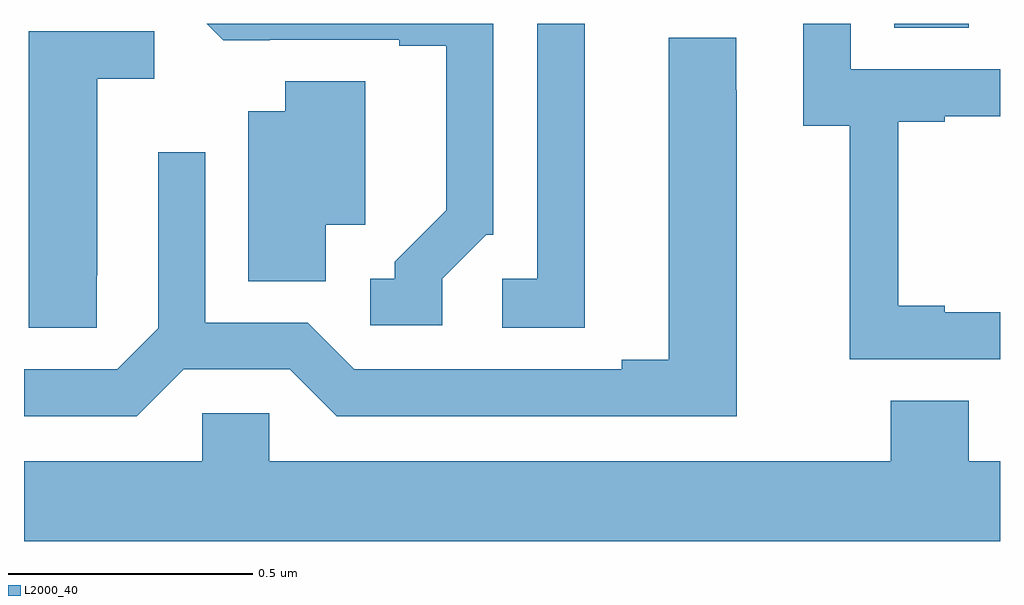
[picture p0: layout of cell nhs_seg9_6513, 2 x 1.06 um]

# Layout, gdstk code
import gdstk
lib = gdstk.Library(unit=1e-6, precision=1e-09)
def R(c, l, rs):  # rectangles x0, y0, x1, y1
    for r in rs: c.add(gdstk.rectangle(r[:2], r[2:], *l))
def P(c, l, *ps):  # polygons
    for p in ps: c.add(gdstk.Polygon(p, *l))
L2000_40 = (2000, 40)

nhs_seg9_6513 = lib.new_cell('nhs_seg9_6513')
R(nhs_seg9_6513, L2000_40, [(194.783,1177.492,194.936,1177.5)])
P(nhs_seg9_6513, L2000_40, [(193.857,1176.978),(193.947,1177.068),(193.962,1177.068),(193.962,1177.5),(193.374,1177.5),(193.408,1177.466),(193.504,1177.466),(193.504,1177.467),(193.769,1177.467),(193.769,1177.455),(193.865,1177.455),(193.865,1177.118),(193.76,1177.013),(193.76,1176.978),(193.71,1176.978),(193.71,1176.882),(193.857,1176.882)],
  [(194.149,1177.5),(194.052,1177.5),(194.052,1176.978),(193.98,1176.978),(193.98,1176.877),(194.149,1176.877)],
  [(195,1176.909),(194.887,1176.909),(194.887,1176.922),(194.792,1176.922),(194.792,1177.299),(194.887,1177.299),(194.887,1177.311),(195,1177.311),(195,1177.407),(194.694,1177.407),(194.694,1177.5),(194.597,1177.5),(194.597,1177.291),(194.692,1177.291),(194.692,1176.813),(195,1176.813)],
  [(193.149,1176.985),(193.15,1176.985),(193.15,1177.388),(193.267,1177.388),(193.267,1177.485),(193.01,1177.485),(193.01,1176.877),(193.149,1176.877)],
  [(193.327,1176.792),(193.545,1176.792),(193.641,1176.696),(194.461,1176.696),(194.461,1177.364),(194.46,1177.364),(194.46,1177.472),(194.321,1177.472),(194.321,1176.812),(194.225,1176.812),(194.225,1176.792),(193.677,1176.792),(193.581,1176.888),(193.371,1176.888),(193.371,1177.237),(193.275,1177.237),(193.275,1176.876),(193.191,1176.792),(193,1176.792),(193,1176.696),(193.231,1176.696)],
  [(193.618,1177.088),(193.699,1177.088),(193.699,1177.382),(193.535,1177.382),(193.535,1177.321),(193.46,1177.321),(193.46,1176.973),(193.618,1176.973)],
  [(195,1176.604),(194.936,1176.604),(194.936,1176.728),(194.776,1176.728),(194.776,1176.604),(193.503,1176.604),(193.503,1176.702),(193.365,1176.702),(193.365,1176.604),(193,1176.604),(193,1176.44),(195,1176.44)])

lib.write_gds('nhs_seg9_6513.gds')
